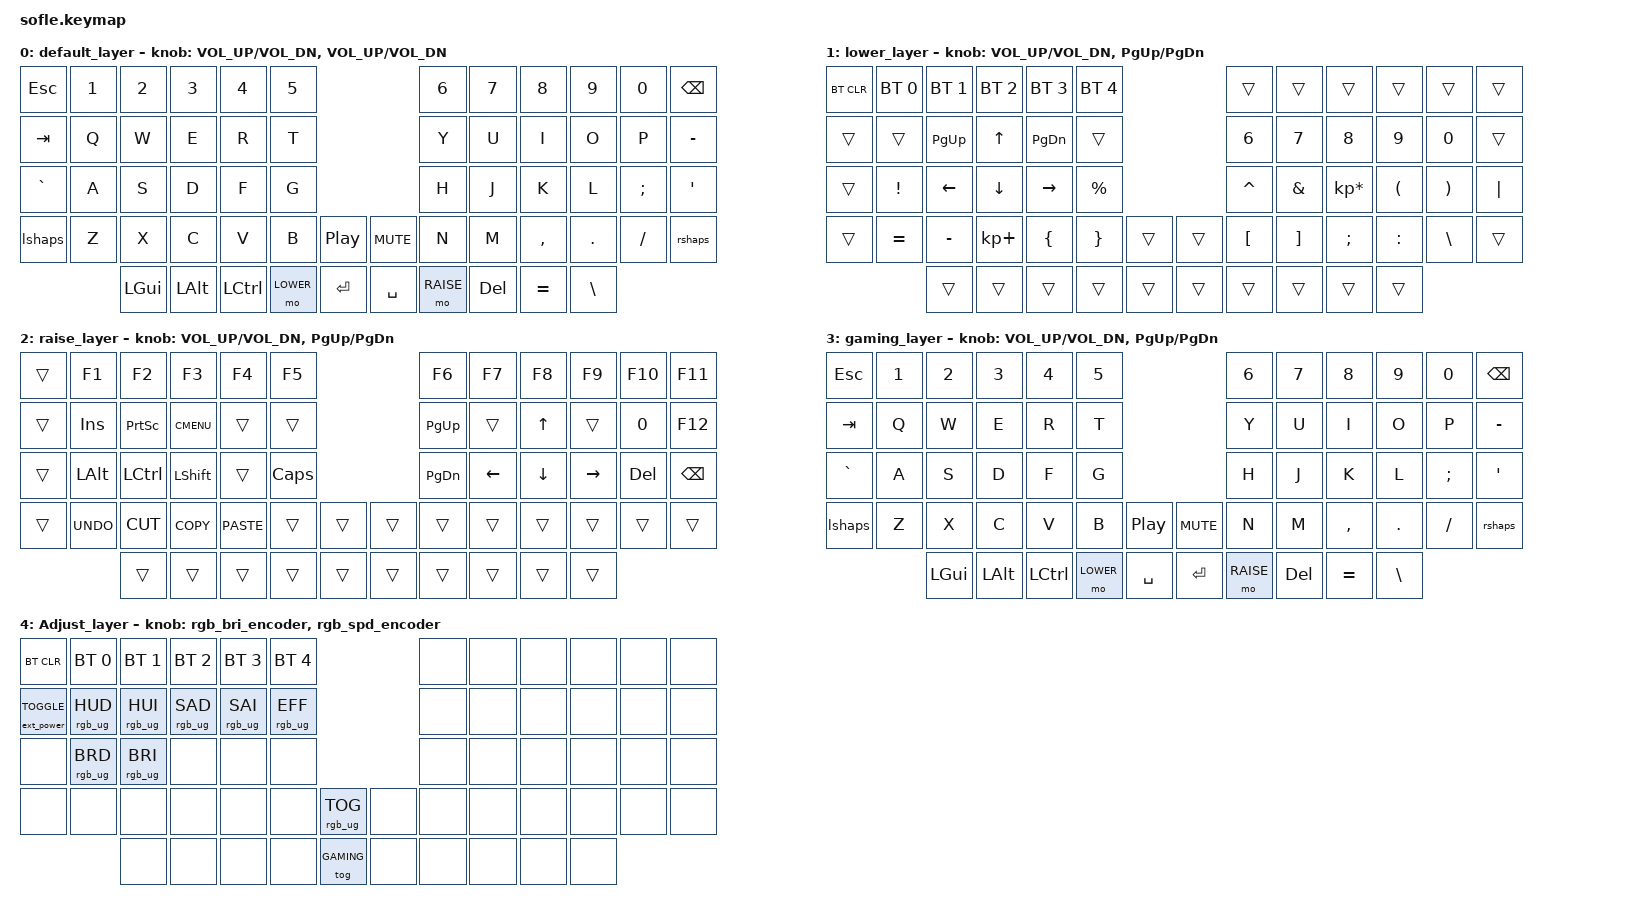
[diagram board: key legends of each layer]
/*
 * Copyright (c) 2020 The ZMK Contributors
 *
 * SPDX-License-Identifier: MIT
 */


#include <behaviors.dtsi>
#include <dt-bindings/zmk/keys.h>
#include <dt-bindings/zmk/bt.h>
#include <dt-bindings/zmk/rgb.h>
#include <dt-bindings/zmk/ext_power.h>

#define BASE 0
#define LOWER 1
#define RAISE 2
#define GAMING 3
#define ADJUST 4

/ {


    behaviors {
        rgb_spd_encoder: rgb_spd_encoder {
            compatible = "zmk,behavior-sensor-rotate";
            #sensor-binding-cells = <0>;
            bindings = <&rgb_ug RGB_SPI>, <&rgb_ug RGB_SPD>;
        };
		rgb_bri_encoder: rgb_bri_encoder {
            compatible = "zmk,behavior-sensor-rotate";
            #sensor-binding-cells = <0>;
            bindings = <&rgb_ug RGB_BRI>, <&rgb_ug RGB_BRD>;
        };
  		lshaps: lshift_caps_lock {
            compatible = "zmk,behavior-mod-morph";
            #binding-cells = <0>;
            bindings = <&kp LSFT>, <&kp CAPSLOCK>;
            mods = <(MOD_RSFT)>;
        };
  		rshaps: rshift_caps_lock {
            compatible = "zmk,behavior-mod-morph";
            #binding-cells = <0>;
            bindings = <&kp RSFT>, <&kp CAPSLOCK>;
            mods = <(MOD_LSFT)>;
        };

    };

   // Activate ADJUST layer by pressing raise and lower
    conditional_layers {
        compatible = "zmk,conditional-layers";
        adjust_layer {
            if-layers = <LOWER RAISE>;
            then-layer = <ADJUST>;
        };
    };

    keymap {
        compatible = "zmk,keymap";

        default_layer {
// ------------------------------------------------------------------------------------------------------------
// |  ESC  |  1  |  2  |  3   |  4   |  5   |                    |  6   |   7   |  8    |  9   |   0   |  BKSP |
// |  TAB  |  Q  |  W  |  E   |  R   |  T   |                    |  Y   |   U   |  I    |  O   |   P   |   -   |
// |   ~  |  A  |  S  |  D   |  F   |  G   |                    |  H   |   J   |  K    |  L   |   ;   |   '   |
// | SHIFT |  Z  |  X  |  C   |  V   |  B   |  PLAY/P |  | MUTE  |  N   |   M   |  ,    |  .   |   /   | SHIFT |
//               | GUI | ALT  | CTRL | LOWER|  ENTER  |  | SPACE | RAISE|  DEL  |  =    |  \   |
            bindings = <
&kp ESC   &kp N1 &kp N2   &kp N3   &kp N4    &kp N5                        &kp N6  &kp N7     &kp N8     &kp N9   &kp N0   &kp BSPC
&kp TAB   &kp Q  &kp W    &kp E    &kp R     &kp T                         &kp Y   &kp U      &kp I      &kp O    &kp P    &kp MINUS
&kp GRAVE &kp A  &kp S    &kp D    &kp F     &kp G                         &kp H   &kp J      &kp K      &kp L    &kp SEMI &kp SQT
&lshaps &kp Z  &kp X    &kp C    &kp V     &kp B  &kp C_PP    &kp C_MUTE   &kp N   &kp M      &kp COMMA  &kp DOT  &kp FSLH &rshaps
                 &kp LGUI &kp LALT &kp LCTRL &mo LOWER &kp RET  &kp SPACE &mo RAISE  &kp DEL &kp EQUAL  &kp BSLH
            >;

            sensor-bindings = <&inc_dec_kp C_VOL_UP C_VOL_DN &inc_dec_kp C_VOL_UP C_VOL_DN>;
        };

        lower_layer {
// TODO: Some binds are waiting for shifted keycode support.
// ------------------------------------------------------------------------------------------------------------
// | BTCLR | BT1 | BT2  |  BT3 |  BT4  |  BT5 |                   |      |       |       |      |       |       |
// |       |     | PGUP |   ^  |  PGDN |      |                   |   6  |   7   |   8   |   9  |    0  |       |
// |       |  !  |  <-  |   v  |   ->  |  %   |                   |  ^   |  &    |  *    |  (   |   )   |   |   |
// |       |  =  |  -   |  +   |   {   |  }   |        |  |       |  [   |  ]    |  ;    |  :   |   \   |       |
//               |      |      |       |      |        |  |       |      |       |       |      |
            bindings = <
&bt BT_CLR &bt BT_SEL 0 &bt BT_SEL 1 &bt BT_SEL 2 &bt BT_SEL 3 &bt BT_SEL 4             &trans    &trans    &trans   &trans    &trans  &trans
&trans    &trans    &kp PG_UP    &kp UP      &kp PG_DN    &trans                    &kp N6    &kp N7   &kp N8          &kp N9    &kp N0    &trans
&trans    &kp EXCL  &kp LEFT    &kp DOWN    &kp RIGHT  &kp PRCNT                 &kp CARET &kp AMPS &kp KP_MULTIPLY &kp LPAR  &kp RPAR  &kp PIPE
&trans    &kp EQUAL &kp MINUS &kp KP_PLUS &kp LBRC  &kp RBRC  &trans   &trans &kp LBKT  &kp RBKT &kp SEMI        &kp COLON &kp BSLH  &trans
                    &trans    &trans      &trans    &trans    &trans   &trans &trans    &trans   &trans          &trans
            >;

            sensor-bindings = <&inc_dec_kp C_VOL_UP C_VOL_DN &inc_dec_kp PG_UP PG_DN>;
        };

        raise_layer {
// ------------------------------------------------------------------------------------------------------------
// |     |  F1  |  F2  |  F3   |  F4   |  F5  |                |  F6  |  F7  |  F8   |  F9  |  F10  |  F11  |
// |     | INS  | PSCR | GUI   |       |      |                | PGUP |      |   ^   |      |       |  F12  |
// |     | ALT  | CTRL | SHIFT |       | CAPS |                | PGDN |   <- |   v   |  ->  |  DEL  | BKSPC |
// |     | UNDO | CUT  | COPY  | PASTE |      |      |  |      |      |      |       |      |       |       |
//              |      |       |       |      |      |  |      |      |      |       |      |
            bindings = <
&trans    &kp F1    &kp F2    &kp F3      &kp F4    &kp F5                    &kp F6    &kp F7   &kp F8          &kp F9    &kp F10   &kp F11
&trans     &kp INS      &kp PSCRN    &kp K_CMENU  &trans       &trans                   &kp PG_UP &trans    &kp UP   &trans    &kp N0  &kp F12
&trans     &kp LALT     &kp LCTRL    &kp LSHFT    &trans       &kp CLCK                 &kp PG_DN &kp LEFT  &kp DOWN &kp RIGHT &kp DEL &kp BSPC
&trans     &kp K_UNDO   &kp K_CUT    &kp K_COPY   &kp K_PASTE  &trans  &trans   &trans  &trans    &trans    &trans   &trans    &trans  &trans
                        &trans       &trans       &trans       &trans  &trans   &trans  &trans    &trans    &trans   &trans
            >;

            sensor-bindings = <&inc_dec_kp C_VOL_UP C_VOL_DN &inc_dec_kp PG_UP PG_DN>;
        };

		gaming_layer {
// ------------------------------------------------------------------------------------------------------------
// |  ESC  |  1  |  2  |  3   |  4   |  5   |                    |  6   |   7   |  8    |  9   |   0   |  BKSP |
// |  TAB  |  Q  |  W  |  E   |  R   |  T   |                    |  Y   |   U   |  I    |  O   |   P   |   -   |
// |   ~   |  A  |  S  |  D   |  F   |  G   |                    |  H   |  J    |  K    |  L   |   ;   |   '   |
// | SHIFT |  Z  |  X  |  C   |  V   |  B   |  PLAY/P |  | MUTE  |  N   |  M    |  ,    |  .   |   /   | SHIFT |
//               | GUI | ALT  | CTRL | LOWER|  SPACE  |  | ENTER | RAISE| DEL   | EQUAL |  \   |
            bindings = <
&kp ESC   &kp N1 &kp N2   &kp N3   &kp N4    &kp N5                        &kp N6 &kp N7     &kp N8     &kp N9   &kp N0   &kp BSPC
&kp TAB   &kp Q  &kp W    &kp E    &kp R     &kp T                         &kp Y  &kp U      &kp I      &kp O    &kp P    &kp MINUS
&kp GRAVE &kp A  &kp S    &kp D    &kp F     &kp G                         &kp H  &kp J      &kp K      &kp L    &kp SEMI &kp SQT
&lshaps   &kp Z  &kp X    &kp C    &kp V     &kp B  &kp C_PP    &kp C_MUTE &kp N  &kp M      &kp COMMA  &kp DOT  &kp FSLH &rshaps
                 &kp LGUI &kp LALT &kp LCTRL &mo LOWER &kp SPACE  &kp RET &mo RAISE  &kp DEL &kp EQUAL  &kp BSLH
            >;

            sensor-bindings = <&inc_dec_kp C_VOL_UP C_VOL_DN &inc_dec_kp PG_UP PG_DN>;
        };


// ------------------------------------------------------------------------------------------------------------
// |BTCLR | BT1   | BT2   |  BT3  |  BT4  |  BT5  |                |      |      |       |      |       |       |
// |EXTPWR|RGB_HUD|RGB_HUI|RGB_SAD|RGB_SAI|RGB_EFF|                |      |      |       |      |       |       |
// |      |RGB_BRD|RGB_BRI|       |       |       |                |      |      |       |      |       |       |
// |      |       |       |       |       |       |RGB_TOG| |      |      |      |       |      |       |       |
//                |       |       |       |       |LAYER_3| |      |      |      |       |      |

        Adjust_layer {
        bindings = <
&bt BT_CLR                      &bt BT_SEL 0    &bt BT_SEL 1    &bt BT_SEL 2    &bt BT_SEL 3    &bt BT_SEL 4                                    &none &none &none &none &none &none
&ext_power EXT_POWER_TOGGLE_CMD &rgb_ug RGB_HUD &rgb_ug RGB_HUI &rgb_ug RGB_SAD &rgb_ug RGB_SAI &rgb_ug RGB_EFF                                 &none &none &none &none &none &none
&none                           &rgb_ug RGB_BRD &rgb_ug RGB_BRI &none           &none           &none                                           &none &none &none &none &none &none
&none                           &none           &none           &none           &none           &none               &rgb_ug RGB_TOG  &none      &none &none &none &none &none &none
                                                &none           &none           &none           &none               &tog GAMING            &none      &none &none &none &none
        >;
			sensor-bindings = <&rgb_bri_encoder &rgb_spd_encoder>;
		};
        	
    };
};

